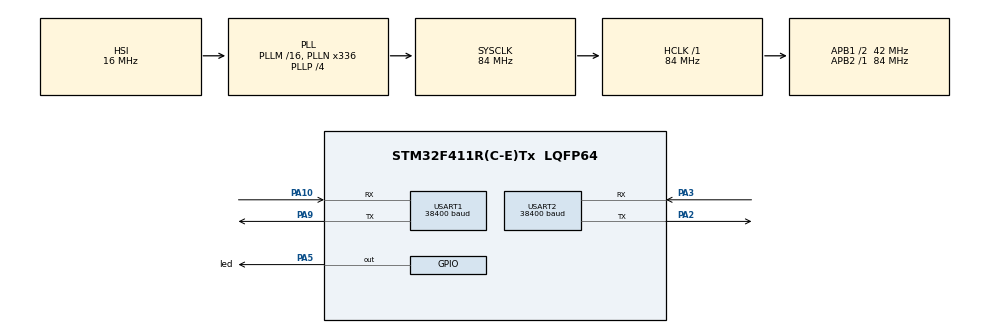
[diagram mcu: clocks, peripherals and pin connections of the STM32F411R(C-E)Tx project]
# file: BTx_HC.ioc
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Mcu.Family=STM32F4
Mcu.Name=STM32F411R(C-E)Tx
Mcu.Package=LQFP64
NVIC.PriorityGroup=NVIC_PRIORITYGROUP_0
NVIC.USART1_IRQn=true\:0\:0\:false\:false\:true\:true\:true\:true
PA10.Mode=Asynchronous
PA10.Signal=USART1_RX
PA2.Mode=Asynchronous
PA2.Signal=USART2_TX
PA3.Mode=Asynchronous
PA3.Signal=USART2_RX
PA5.GPIO_Label=led
PA5.Signal=GPIO_Output
PA9.Mode=Asynchronous
PA9.Signal=USART1_TX
ProjectManager.HeapSize=0x200
ProjectManager.StackSize=0x400
ProjectManager.TargetToolchain=STM32CubeIDE
RCC.48MHZClocksFreq_Value=84000000
RCC.AHBFreq_Value=84000000
RCC.APB1CLKDivider=RCC_HCLK_DIV2
RCC.APB1Freq_Value=42000000
RCC.APB1TimFreq_Value=84000000
RCC.APB2Freq_Value=84000000
RCC.APB2TimFreq_Value=84000000
RCC.CortexFreq_Value=84000000
RCC.FLatency-AdvancedSettings=FLASH_LATENCY_2
RCC.HCLKFreq_Value=84000000
RCC.HSE_VALUE=8000000
RCC.HSI_VALUE=16000000
RCC.PLLN=336
RCC.PLLP=RCC_PLLP_DIV4
RCC.SYSCLKFreq_VALUE=84000000
RCC.SYSCLKSource=RCC_SYSCLKSOURCE_PLLCLK
RCC.VCOOutputFreq_Value=336000000
USART1.BaudRate=38400
USART1.VirtualMode=VM_ASYNC
USART2.BaudRate=38400
USART2.VirtualMode=VM_ASYNC
board=NUCLEO-F411RE

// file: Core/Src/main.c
/* USER CODE BEGIN Header */
/**
  ******************************************************************************
  * @file           : main.c
  * @brief          : Main program body
  ******************************************************************************
  * @attention
  *
  * Copyright (c) 2026 STMicroelectronics.
  * All rights reserved.
  *
  * This software is licensed under terms that can be found in the LICENSE file
  * in the root directory of this software component.
  * If no LICENSE file comes with this software, it is provided AS-IS.
  *
  ******************************************************************************
  */
/* USER CODE END Header */
#include "main.h"

/* USER CODE BEGIN Includes */
#include <string.h>
#include <stdio.h> // for sprintf
/* USER CODE END Includes */

UART_HandleTypeDef huart1;
UART_HandleTypeDef huart2;

/* USER CODE BEGIN PV */
uint8_t rx_byte;             // Single byte buffer for interrupt
char rx_buffer[50];          // Buffer to store the full response string
uint8_t rx_index = 0;        // Counter for the buffer
volatile uint8_t command_ready = 0; // Flag to tell main() we got a response
typedef enum {SEND_AT, SEND_NAME, SEND_PIN, CONF_DONE} AT_State;

/* USER CODE END PV */

void SystemClock_Config(void);
static void MX_GPIO_Init(void);
static void MX_USART1_UART_Init(void);
static void MX_USART2_UART_Init(void);

int main(void)
{

  /* MCU Configuration--------------------------------------------------------*/

  /* Reset of all peripherals, Initializes the Flash interface and the Systick. */
  HAL_Init();

  /* Configure the system clock */
  SystemClock_Config();

  /* Initialize all configured peripherals */
  MX_GPIO_Init();
  MX_USART1_UART_Init();
  MX_USART2_UART_Init();
  /* USER CODE BEGIN 2 */

  HAL_Delay(1000); // Waiting for Power to  stablize
  __HAL_UART_FLUSH_DRREGISTER(&huart1); // Clear any noise/junk bytes
  AT_State currentState = SEND_AT;													// Set State to Start Switch
  HAL_UART_Transmit(&huart2, (uint8_t*)"System Start: AT Mode\r\n", 23, 100);		// For PuTTY Confirmation
  HAL_UART_Receive_IT(&huart1, &rx_byte, 1);										// Enable UART1 Interrupt
  HAL_UART_Transmit(&huart1, (uint8_t*)"AT\r\n", 4, 100); 							// Sending AT test to recieve "OK" from HC-05
  /* USER CODE END 2 */

  /* Infinite loop */
  /* USER CODE BEGIN WHILE */
  while (1)
  {
	  if (command_ready) {
	          command_ready = 0;				// Clear Flag

	          if (strstr(rx_buffer, "OK") != NULL)
	          {
	        	  switch(currentState) {
	        	      case SEND_AT:
	        	          HAL_UART_Transmit(&huart2, (uint8_t*)"AT Success. Setting Name...\r\n", 29, 100);
	        	          // Use a hardcoded length or strlen. Avoid sizeof for UART transmits.
	        	          HAL_UART_Transmit(&huart1, (uint8_t*)"AT+NAME=MyNucleo\r\n", 18, 100);
	        	          currentState = SEND_NAME;
	        	          break;

	        	      case SEND_NAME:
	        	          HAL_UART_Transmit(&huart2, (uint8_t*)"Renaming Successful.\r\n Setting PIN...\r\n", 39, 100);
	        	          HAL_Delay(500); // Small rest for the module

	        	          // Use escaped quotes for the PIN. This is the most compatible format.
	        	          HAL_UART_Transmit(&huart1, (uint8_t*)"AT+PSWD=\"0000\"\r\n", 16, 100);
	        	          currentState = SEND_PIN;
	        	          break;

	        	      case SEND_PIN:
	        	          HAL_UART_Transmit(&huart2, (uint8_t*)"CONFIG COMPLETE!\r\n", 18, 100);
	        	          HAL_GPIO_WritePin(led_GPIO_Port, led_Pin, GPIO_PIN_SET);
	        	          currentState = CONF_DONE;
	        	          break;

	        	      case CONF_DONE:
	        	          break;
	        	  }
	          }
	      }
    /* USER CODE END WHILE */

  }
}

void SystemClock_Config(void)
{
  RCC_OscInitTypeDef RCC_OscInitStruct = {0};
  RCC_ClkInitTypeDef RCC_ClkInitStruct = {0};

  /** Configure the main internal regulator output voltage
  */
  __HAL_RCC_PWR_CLK_ENABLE();
  __HAL_PWR_VOLTAGESCALING_CONFIG(PWR_REGULATOR_VOLTAGE_SCALE1);

  /** Initializes the RCC Oscillators according to the specified parameters
  * in the RCC_OscInitTypeDef structure.
  */
  RCC_OscInitStruct.OscillatorType = RCC_OSCILLATORTYPE_HSI;
  RCC_OscInitStruct.HSIState = RCC_HSI_ON;
  RCC_OscInitStruct.HSICalibrationValue = RCC_HSICALIBRATION_DEFAULT;
  RCC_OscInitStruct.PLL.PLLState = RCC_PLL_ON;
  RCC_OscInitStruct.PLL.PLLSource = RCC_PLLSOURCE_HSI;
  RCC_OscInitStruct.PLL.PLLM = 16;
  RCC_OscInitStruct.PLL.PLLN = 336;
  RCC_OscInitStruct.PLL.PLLP = RCC_PLLP_DIV4;
  RCC_OscInitStruct.PLL.PLLQ = 4;
  if (HAL_RCC_OscConfig(&RCC_OscInitStruct) != HAL_OK)
  {
    Error_Handler();
  }

  /** Initializes the CPU, AHB and APB buses clocks
  */
  RCC_ClkInitStruct.ClockType = RCC_CLOCKTYPE_HCLK|RCC_CLOCKTYPE_SYSCLK
                              |RCC_CLOCKTYPE_PCLK1|RCC_CLOCKTYPE_PCLK2;
  RCC_ClkInitStruct.SYSCLKSource = RCC_SYSCLKSOURCE_PLLCLK;
  RCC_ClkInitStruct.AHBCLKDivider = RCC_SYSCLK_DIV1;
  RCC_ClkInitStruct.APB1CLKDivider = RCC_HCLK_DIV2;
  RCC_ClkInitStruct.APB2CLKDivider = RCC_HCLK_DIV1;

  if (HAL_RCC_ClockConfig(&RCC_ClkInitStruct, FLASH_LATENCY_2) != HAL_OK)
  {
    Error_Handler();
  }
}

static void MX_USART1_UART_Init(void)
{

  huart1.Instance = USART1;
  huart1.Init.BaudRate = 38400;
  huart1.Init.WordLength = UART_WORDLENGTH_8B;
  huart1.Init.StopBits = UART_STOPBITS_1;
  huart1.Init.Parity = UART_PARITY_NONE;
  huart1.Init.Mode = UART_MODE_TX_RX;
  huart1.Init.HwFlowCtl = UART_HWCONTROL_NONE;
  huart1.Init.OverSampling = UART_OVERSAMPLING_16;
  if (HAL_UART_Init(&huart1) != HAL_OK)
  {
    Error_Handler();
  }

}

static void MX_USART2_UART_Init(void)
{

  huart2.Instance = USART2;
  huart2.Init.BaudRate = 38400;
  huart2.Init.WordLength = UART_WORDLENGTH_8B;
  huart2.Init.StopBits = UART_STOPBITS_1;
  huart2.Init.Parity = UART_PARITY_NONE;
  huart2.Init.Mode = UART_MODE_TX_RX;
  huart2.Init.HwFlowCtl = UART_HWCONTROL_NONE;
  huart2.Init.OverSampling = UART_OVERSAMPLING_16;
  if (HAL_UART_Init(&huart2) != HAL_OK)
  {
    Error_Handler();
  }

}

static void MX_GPIO_Init(void)
{
  GPIO_InitTypeDef GPIO_InitStruct = {0};

  /* GPIO Ports Clock Enable */
  __HAL_RCC_GPIOA_CLK_ENABLE();

  /*Configure GPIO pin Output Level */
  HAL_GPIO_WritePin(led_GPIO_Port, led_Pin, GPIO_PIN_RESET);

  /*Configure GPIO pin : led_Pin */
  GPIO_InitStruct.Pin = led_Pin;
  GPIO_InitStruct.Mode = GPIO_MODE_OUTPUT_PP;
  GPIO_InitStruct.Pull = GPIO_NOPULL;
  GPIO_InitStruct.Speed = GPIO_SPEED_FREQ_LOW;
  HAL_GPIO_Init(led_GPIO_Port, &GPIO_InitStruct);

}

/* USER CODE BEGIN 4 */
void HAL_UART_RxCpltCallback(UART_HandleTypeDef *huart) {
    if (huart->Instance == USART1) {
        rx_buffer[rx_index++] = rx_byte;

        // Forward the byte to PC so we can see the HC-05's response live
        HAL_UART_Transmit(&huart2, &rx_byte, 1, 10);

        if (rx_byte == '\n') {
            rx_buffer[rx_index] = '\0';
            command_ready = 1;
            rx_index = 0;
        }
        HAL_UART_Receive_IT(&huart1, &rx_byte, 1);
    }
}
/* USER CODE END 4 */

void Error_Handler(void)
{
  __disable_irq();
  while (1)
  {
  }
}
